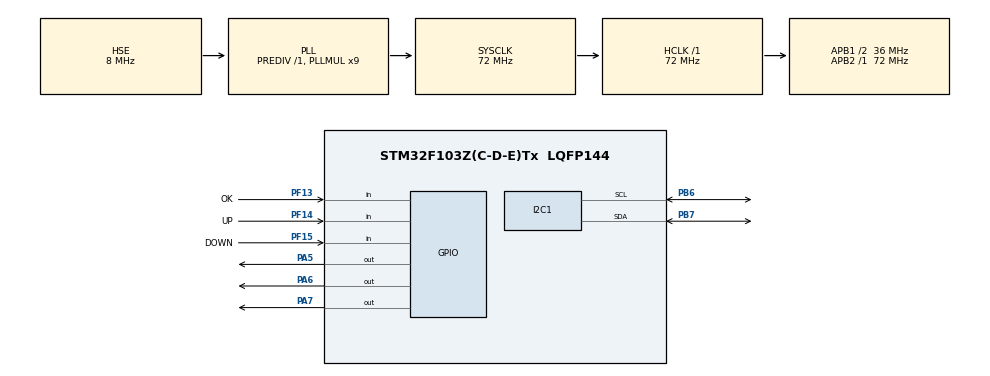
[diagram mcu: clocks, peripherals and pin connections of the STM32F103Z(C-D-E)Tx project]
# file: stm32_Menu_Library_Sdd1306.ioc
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I2C1.I2C_Mode=I2C_Fast
Mcu.Family=STM32F1
Mcu.Name=STM32F103Z(C-D-E)Tx
Mcu.Package=LQFP144
NVIC.PriorityGroup=NVIC_PRIORITYGROUP_4
OSC_IN.Mode=HSE-External-Oscillator
OSC_IN.Signal=RCC_OSC_IN
OSC_OUT.Mode=HSE-External-Oscillator
OSC_OUT.Signal=RCC_OSC_OUT
PA5.Signal=GPIO_Output
PA6.Signal=GPIO_Output
PA7.Signal=GPIO_Output
PB6.Mode=I2C
PB6.Signal=I2C1_SCL
PB7.Mode=I2C
PB7.Signal=I2C1_SDA
PF13.GPIO_Label=OK
PF13.GPIO_PuPd=GPIO_PULLDOWN
PF13.Signal=GPIO_Input
PF14.GPIO_Label=UP
PF14.GPIO_PuPd=GPIO_PULLDOWN
PF14.Signal=GPIO_Input
PF15.GPIO_Label=DOWN
PF15.GPIO_PuPd=GPIO_PULLDOWN
PF15.Signal=GPIO_Input
ProjectManager.HeapSize=0x200
ProjectManager.StackSize=0x400
ProjectManager.TargetToolchain=STM32CubeIDE
RCC.AHBFreq_Value=72000000
RCC.APB1CLKDivider=RCC_HCLK_DIV2
RCC.APB1Freq_Value=36000000
RCC.APB1TimFreq_Value=72000000
RCC.APB2Freq_Value=72000000
RCC.APB2TimFreq_Value=72000000
RCC.HCLKFreq_Value=72000000
RCC.PLLMUL=RCC_PLL_MUL9
RCC.PLLSourceVirtual=RCC_PLLSOURCE_HSE
RCC.SYSCLKFreq_VALUE=72000000
RCC.SYSCLKSource=RCC_SYSCLKSOURCE_PLLCLK
RCC.USBFreq_Value=72000000
board=custom

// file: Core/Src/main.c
/* USER CODE BEGIN Header */
/**
  ******************************************************************************
  * @file           : main.c
  * @brief          : Main program body
  ******************************************************************************
  * @attention
  *
  * Copyright (c) 2023 STMicroelectronics.
  * All rights reserved.
  *
  * This software is licensed under terms that can be found in the LICENSE file
  * in the root directory of this software component.
  * If no LICENSE file comes with this software, it is provided AS-IS.
  *
  ******************************************************************************
  */
/* USER CODE END Header */
#include "main.h"

/* USER CODE BEGIN Includes */
#include "ssd1306.h"
#include "fonts.h"
#include "test.h"
#include "string.h"

/* USER CODE END Includes */

/* USER CODE BEGIN PD */
#define SCREEN_HEIGHT 64
#define SCREEN_WIDTH 128

/* USER CODE END PD */

I2C_HandleTypeDef hi2c1;

/* USER CODE BEGIN PV */
uint8_t downFlag = 0;
uint8_t upFlag = 0;
uint8_t okFlag = 0;

uint8_t lastDownFlag;
uint8_t lastUpFlag;
uint8_t lastOkFlag;

uint8_t okState = 0;
uint8_t okLastState = 0;
uint8_t cursor = 0;

/* USER CODE END PV */

void SystemClock_Config(void);
static void MX_GPIO_Init(void);
static void MX_I2C1_Init(void);

int main(void)
{

  /* MCU Configuration--------------------------------------------------------*/

  /* Reset of all peripherals, Initializes the Flash interface and the Systick. */
  HAL_Init();

  /* Configure the system clock */
  SystemClock_Config();

  /* Initialize all configured peripherals */
  MX_GPIO_Init();
  MX_I2C1_Init();
  /* USER CODE BEGIN 2 */
  SSD1306_Init ();

  void buttonMoveAnimation(uint8_t y1, uint8_t y2){
	  uint8_t i;
	  if(y1 <= y2){
		  for(i = y1; i < y2; i++){
			  SSD1306_Fill(0);
			  SSD1306_DrawRectangle(0, i, 7*10, 14, 1);
			  SSD1306_UpdateScreen();
		  }
	  }
	  if(y1 >= y2){
		  for(i = y1; i > y2; i--){
			  SSD1306_Fill(0);
			  SSD1306_DrawRectangle(0, i, 7*10, 14, 1);
			  SSD1306_UpdateScreen();
		  }
	  }
  }

  void menu(uint8_t curs){
	  uint8_t items = 3;
	  uint8_t item_name[3][10] = {"READLINE", "PID", "CALIB"};

	  SSD1306_Fill(0);
	  for(int i = 0; i<items;i++){

		  SSD1306_GotoXY(4, 3+(i+1)+(10*(i+1)));
		  SSD1306_Puts(item_name[i], &Font_7x10, 1);
		  SSD1306_DrawRectangle(0, (curs*10+i)+(curs-1), 7*10, 14, 1);

	  }
  }
  /* USER CODE END 2 */

  /* Infinite loop */
  /* USER CODE BEGIN WHILE */
  while (1)
  {
//	  for(int i = 1; i <= (SSD1306_HEIGHT - 11); i++){
//		  SSD1306_Fill(0);
//		  SSD1306_GotoXY (0, i); // goto 10, 10
//		  SSD1306_Puts ("HELLO", &Font_7x10, 1); // print Hello
//		  SSD1306_UpdateScreen(); // update screen
//	  }

	  if(HAL_GPIO_ReadPin(DOWN_GPIO_Port, DOWN_Pin) == 1){
		  HAL_GPIO_TogglePin(GPIOA, GPIO_PIN_7);
	  }
	  if(HAL_GPIO_ReadPin(UP_GPIO_Port, UP_Pin) == 1){
		  HAL_GPIO_TogglePin(GPIOA, GPIO_PIN_6);
	  }
	  if(HAL_GPIO_ReadPin(OK_GPIO_Port, OK_Pin) == 1){
		  HAL_GPIO_TogglePin(GPIOA, GPIO_PIN_5);
	  }

	  if(okState == 1){
		  SSD1306_Fill(0);
		  if(cursor == 1){
			  SSD1306_GotoXY (0, 4);
			  SSD1306_Puts ("RL: test", &Font_7x10, 1);
		  }

		  if(cursor == 2){
			  SSD1306_GotoXY (0, 4);
			  SSD1306_Puts ("Kp: 0.06", &Font_7x10, 1);
			  SSD1306_GotoXY (0, 16);
			  SSD1306_Puts ("Ki: 0.6", &Font_7x10, 1);
			  SSD1306_GotoXY (0, 28);
			  SSD1306_Puts ("Ki: 0.08", &Font_7x10, 1);
		  }
		  if(cursor == 3){
			  SSD1306_GotoXY (0, 4);
			  SSD1306_Puts ("Calib-1", &Font_7x10, 1);
		  }
		  SSD1306_UpdateScreen();
	  }
//	  SSD1306_GotoXY (0,SSD1306_HEIGHT-11); // goto 10, 10
//	  SSD1306_Puts ("HELLO", &Font_7x10, 1); // print Hello
//	  SSD1306_UpdateScreen(); // update screen

    /* USER CODE END WHILE */

  }
}

void SystemClock_Config(void)
{
  RCC_OscInitTypeDef RCC_OscInitStruct = {0};
  RCC_ClkInitTypeDef RCC_ClkInitStruct = {0};

  /** Initializes the RCC Oscillators according to the specified parameters
  * in the RCC_OscInitTypeDef structure.
  */
  RCC_OscInitStruct.OscillatorType = RCC_OSCILLATORTYPE_HSE;
  RCC_OscInitStruct.HSEState = RCC_HSE_ON;
  RCC_OscInitStruct.HSEPredivValue = RCC_HSE_PREDIV_DIV1;
  RCC_OscInitStruct.HSIState = RCC_HSI_ON;
  RCC_OscInitStruct.PLL.PLLState = RCC_PLL_ON;
  RCC_OscInitStruct.PLL.PLLSource = RCC_PLLSOURCE_HSE;
  RCC_OscInitStruct.PLL.PLLMUL = RCC_PLL_MUL9;
  if (HAL_RCC_OscConfig(&RCC_OscInitStruct) != HAL_OK)
  {
    Error_Handler();
  }

  /** Initializes the CPU, AHB and APB buses clocks
  */
  RCC_ClkInitStruct.ClockType = RCC_CLOCKTYPE_HCLK|RCC_CLOCKTYPE_SYSCLK
                              |RCC_CLOCKTYPE_PCLK1|RCC_CLOCKTYPE_PCLK2;
  RCC_ClkInitStruct.SYSCLKSource = RCC_SYSCLKSOURCE_PLLCLK;
  RCC_ClkInitStruct.AHBCLKDivider = RCC_SYSCLK_DIV1;
  RCC_ClkInitStruct.APB1CLKDivider = RCC_HCLK_DIV2;
  RCC_ClkInitStruct.APB2CLKDivider = RCC_HCLK_DIV1;

  if (HAL_RCC_ClockConfig(&RCC_ClkInitStruct, FLASH_LATENCY_2) != HAL_OK)
  {
    Error_Handler();
  }
}

static void MX_I2C1_Init(void)
{

  hi2c1.Instance = I2C1;
  hi2c1.Init.ClockSpeed = 400000;
  hi2c1.Init.DutyCycle = I2C_DUTYCYCLE_2;
  hi2c1.Init.OwnAddress1 = 0;
  hi2c1.Init.AddressingMode = I2C_ADDRESSINGMODE_7BIT;
  hi2c1.Init.DualAddressMode = I2C_DUALADDRESS_DISABLE;
  hi2c1.Init.OwnAddress2 = 0;
  hi2c1.Init.GeneralCallMode = I2C_GENERALCALL_DISABLE;
  hi2c1.Init.NoStretchMode = I2C_NOSTRETCH_DISABLE;
  if (HAL_I2C_Init(&hi2c1) != HAL_OK)
  {
    Error_Handler();
  }

}

static void MX_GPIO_Init(void)
{
  GPIO_InitTypeDef GPIO_InitStruct = {0};

  /* GPIO Ports Clock Enable */
  __HAL_RCC_GPIOA_CLK_ENABLE();
  __HAL_RCC_GPIOF_CLK_ENABLE();
  __HAL_RCC_GPIOB_CLK_ENABLE();

  /*Configure GPIO pin Output Level */
  HAL_GPIO_WritePin(GPIOA, GPIO_PIN_5|GPIO_PIN_6|GPIO_PIN_7, GPIO_PIN_RESET);

  /*Configure GPIO pins : PA5 PA6 PA7 */
  GPIO_InitStruct.Pin = GPIO_PIN_5|GPIO_PIN_6|GPIO_PIN_7;
  GPIO_InitStruct.Mode = GPIO_MODE_OUTPUT_PP;
  GPIO_InitStruct.Pull = GPIO_NOPULL;
  GPIO_InitStruct.Speed = GPIO_SPEED_FREQ_LOW;
  HAL_GPIO_Init(GPIOA, &GPIO_InitStruct);

  /*Configure GPIO pins : OK_Pin UP_Pin DOWN_Pin */
  GPIO_InitStruct.Pin = OK_Pin|UP_Pin|DOWN_Pin;
  GPIO_InitStruct.Mode = GPIO_MODE_INPUT;
  GPIO_InitStruct.Pull = GPIO_PULLDOWN;
  HAL_GPIO_Init(GPIOF, &GPIO_InitStruct);

}

void Error_Handler(void)
{
  __disable_irq();
  while (1)
  {
  }
}
